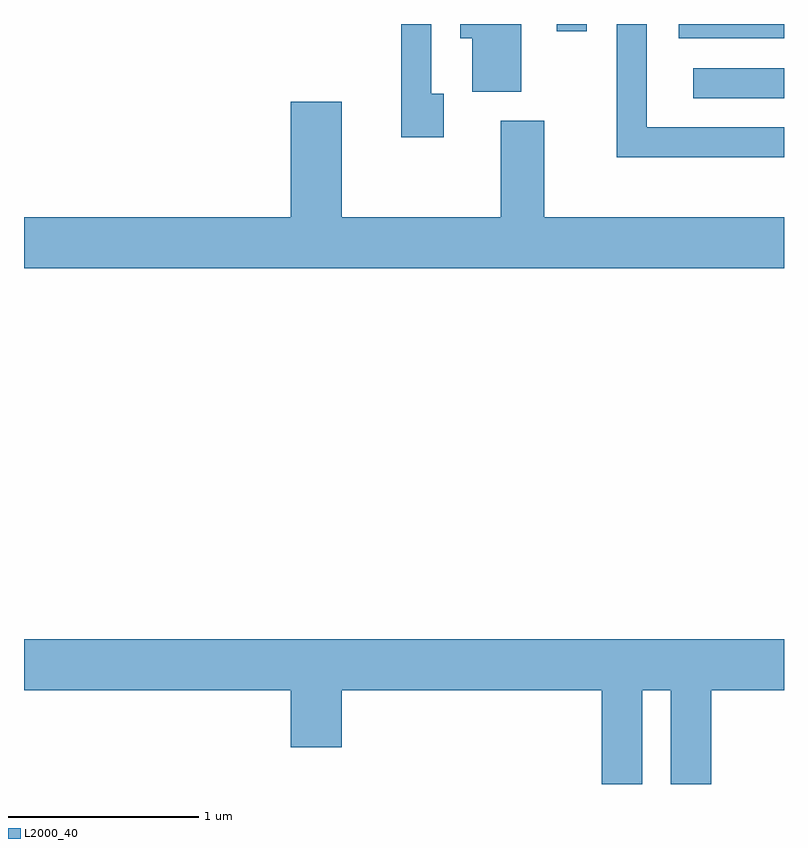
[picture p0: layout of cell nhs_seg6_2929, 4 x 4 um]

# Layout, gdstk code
import gdstk
lib = gdstk.Library(unit=1e-6, precision=1e-09)
def R(c, l, rs):  # rectangles x0, y0, x1, y1
    for r in rs: c.add(gdstk.rectangle(r[:2], r[2:], *l))
def P(c, l, *ps):  # polygons
    for p in ps: c.add(gdstk.Polygon(p, *l))
L2000_40 = (2000, 40)

nhs_seg6_2929 = lib.new_cell('nhs_seg6_2929')
R(nhs_seg6_2929, L2000_40, [(277.133,1599.771,277.611,1599.929), (277.056,1600.086,277.611,1600.162), (276.416,1600.123,276.574,1600.162)])
P(nhs_seg6_2929, L2000_40, [(276.229,1600.162),(275.906,1600.162),(275.906,1600.086),(275.971,1600.086),(275.971,1599.806),(276.229,1599.806)],
  [(275.819,1599.794),(275.754,1599.794),(275.754,1600.162),(275.596,1600.162),(275.596,1599.566),(275.819,1599.566)],
  [(277.611,1599.619),(276.889,1599.619),(276.889,1600.162),(276.731,1600.162),(276.731,1599.461),(277.611,1599.461)],
  [(277.611,1599.144),(276.349,1599.144),(276.349,1599.654),(276.121,1599.654),(276.121,1599.144),(275.284,1599.144),(275.284,1599.754),(275.016,1599.754),(275.016,1599.144),(273.611,1599.144),(273.611,1598.876),(277.611,1598.876)],
  [(273.611,1596.656),(275.016,1596.656),(275.016,1596.356),(275.284,1596.356),(275.284,1596.656),(276.651,1596.656),(276.651,1596.162),(276.864,1596.162),(276.864,1596.656),(277.016,1596.656),(277.016,1596.162),(277.229,1596.162),(277.229,1596.656),(277.611,1596.656),(277.611,1596.924),(273.611,1596.924)])

lib.write_gds('nhs_seg6_2929.gds')
